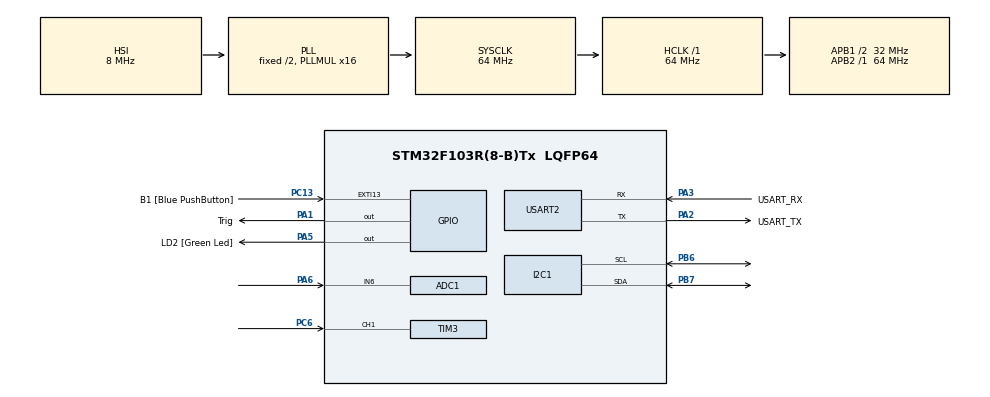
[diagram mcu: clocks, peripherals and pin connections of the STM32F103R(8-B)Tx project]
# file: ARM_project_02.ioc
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ADC1.Channel-3\#ChannelRegularConversion=ADC_CHANNEL_6
ADC1.ContinuousConvMode=DISABLE
ADC1.NbrOfConversionFlag=1
ADC1.Rank-3\#ChannelRegularConversion=1
ADC1.SamplingTime-3\#ChannelRegularConversion=ADC_SAMPLETIME_239CYCLES_5
ADC1.master=1
Dma.ADC1.0.Direction=DMA_PERIPH_TO_MEMORY
Dma.ADC1.0.Instance=DMA1_Channel1
Dma.ADC1.0.MemDataAlignment=DMA_MDATAALIGN_HALFWORD
Dma.ADC1.0.MemInc=DMA_MINC_ENABLE
Dma.ADC1.0.Mode=DMA_CIRCULAR
Dma.ADC1.0.PeriphDataAlignment=DMA_PDATAALIGN_HALFWORD
Dma.ADC1.0.PeriphInc=DMA_PINC_DISABLE
Dma.ADC1.0.Priority=DMA_PRIORITY_LOW
Dma.Request0=ADC1
Mcu.Family=STM32F1
Mcu.Name=STM32F103R(8-B)Tx
Mcu.Package=LQFP64
NVIC.ADC1_2_IRQn=true\:0\:0\:false\:false\:true\:true\:true\:true
NVIC.DMA1_Channel1_IRQn=true\:0\:0\:false\:false\:true\:false\:true\:true
NVIC.EXTI15_10_IRQn=true\:0\:0\:false\:false\:true\:true\:true\:true
NVIC.PriorityGroup=NVIC_PRIORITYGROUP_4
NVIC.TIM3_IRQn=true\:0\:0\:false\:false\:true\:true\:true\:true
PA1.GPIO_Label=Trig
PA1.Signal=GPIO_Output
PA13.GPIO_Label=TMS
PA13.Mode=Serial_Wire
PA13.Signal=SYS_JTMS-SWDIO
PA14.GPIO_Label=TCK
PA14.Mode=Serial_Wire
PA14.Signal=SYS_JTCK-SWCLK
PA2.GPIO_Label=USART_TX
PA2.GPIO_Mode=GPIO_MODE_AF_PP
PA2.GPIO_PuPd=GPIO_NOPULL
PA2.GPIO_Speed=GPIO_SPEED_FREQ_LOW
PA2.Mode=Asynchronous
PA2.Signal=USART2_TX
PA3.GPIO_Label=USART_RX
PA3.GPIO_Mode=GPIO_MODE_AF_PP
PA3.GPIO_PuPd=GPIO_NOPULL
PA3.GPIO_Speed=GPIO_SPEED_FREQ_LOW
PA3.Mode=Asynchronous
PA3.Signal=USART2_RX
PA5.GPIO_Label=LD2 [Green Led]
PA5.GPIO_ModeDefaultOutputPP=GPIO_MODE_OUTPUT_PP
PA5.GPIO_PuPd=GPIO_NOPULL
PA5.GPIO_Speed=GPIO_SPEED_FREQ_LOW
PA5.Signal=GPIO_Output
PA6.Signal=ADCx_IN6
PB3.GPIO_Label=SWO
PB3.Signal=SYS_JTDO-TRACESWO
PB6.Mode=I2C
PB6.Signal=I2C1_SCL
PB7.Mode=I2C
PB7.Signal=I2C1_SDA
PC13-TAMPER-RTC.GPIO_Label=B1 [Blue PushButton]
PC13-TAMPER-RTC.GPIO_PuPd=GPIO_NOPULL
PC13-TAMPER-RTC.Signal=GPXTI13
PC14-OSC32_IN.Mode=LSE-External-Oscillator
PC14-OSC32_IN.Signal=RCC_OSC32_IN
PC15-OSC32_OUT.Mode=LSE-External-Oscillator
PC15-OSC32_OUT.Signal=RCC_OSC32_OUT
PC6.Signal=S_TIM3_CH1
PD0-OSC_IN.Mode=HSE-External-Clock-Source
PD0-OSC_IN.Signal=RCC_OSC_IN
PD1-OSC_OUT.Mode=HSE-External-Clock-Source
PD1-OSC_OUT.Signal=RCC_OSC_OUT
ProjectManager.HeapSize=0x200
ProjectManager.StackSize=0x400
ProjectManager.TargetToolchain=STM32CubeIDE
RCC.ADCPresc=RCC_ADCPCLK2_DIV8
RCC.AHBFreq_Value=64000000
RCC.APB1CLKDivider=RCC_HCLK_DIV2
RCC.APB1Freq_Value=32000000
RCC.APB1TimFreq_Value=64000000
RCC.APB2Freq_Value=64000000
RCC.APB2TimFreq_Value=64000000
RCC.HCLKFreq_Value=64000000
RCC.PLLMUL=RCC_PLL_MUL16
RCC.RTCClockSelection=RCC_RTCCLKSOURCE_LSE
RCC.SYSCLKFreq_VALUE=64000000
RCC.SYSCLKSource=RCC_SYSCLKSOURCE_PLLCLK
RCC.USBFreq_Value=64000000
SH.ADCx_IN6.0=ADC1_IN6,IN6
SH.S_TIM3_CH1.0=TIM3_CH1,Input_Capture1_from_TI1
TIM3.Channel-Input_Capture1_from_TI1=TIM_CHANNEL_1
TIM3.Prescaler=64-1
TIM4.Period=65535
TIM4.Prescaler=64-1
USART2.VirtualMode=VM_ASYNC
VP_TIM3_VS_ClockSourceINT.Mode=Internal
VP_TIM4_VS_ClockSourceINT.Mode=Internal
board=NUCLEO-F103RB

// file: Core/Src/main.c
/* USER CODE BEGIN Header */
/**
 ******************************************************************************
 * @file           : main.c
 * @brief          : Main program body
 ******************************************************************************
 * @attention
 *
 * Copyright (c) 2022 STMicroelectronics.
 * All rights reserved.
 *
 * This software is licensed under terms that can be found in the LICENSE file
 * in the root directory of this software component.
 * If no LICENSE file comes with this software, it is provided AS-IS.
 *
 ******************************************************************************
 */
/* USER CODE END Header */
#include "main.h"

/* USER CODE BEGIN Includes */
#include <stdio.h>
#include "math.h"
/* USER CODE END Includes */

ADC_HandleTypeDef hadc1;
DMA_HandleTypeDef hdma_adc1;

I2C_HandleTypeDef hi2c1;

TIM_HandleTypeDef htim3;
TIM_HandleTypeDef htim4;

UART_HandleTypeDef huart2;

/* USER CODE BEGIN PV */
uint32_t IC1, IC2, ic;
uint32_t adc_temperature = 0;

uint16_t SUM, RH, TEMP;

uint8_t Rh_byte1, Rh_byte2, Temp_byte1, Temp_byte2;
uint8_t Presence = 0;

int captureFlag = 0;

char displayDis[50];

float dis;
float Temperature = 0;
float Humidity = 0;

/* USER CODE END PV */

void SystemClock_Config(void);
static void MX_GPIO_Init(void);
static void MX_USART2_UART_Init(void);
static void MX_TIM3_Init(void);
static void MX_DMA_Init(void);
static void MX_I2C1_Init(void);
static void MX_ADC1_Init(void);
static void MX_TIM4_Init(void);
/* USER CODE BEGIN PFP */
#ifdef __GNUC__
/* With GCC, small printf (option LD Linker->Libraries->Small printf
 set to 'Yes') calls __io_putchar() */
#define PUTCHAR_PROTOTYPE int __io_putchar(int ch)
#else
#define PUTCHAR_PROTOTYPE int fputc(int ch, FILE *f)
#endif /* __GNUC__ */
PUTCHAR_PROTOTYPE {
	/* Place your implementation of fputc here */
	/* e.g. write a character to the USART1 and Loop until the end of transmission */
	HAL_UART_Transmit(&huart2, (uint8_t*) &ch, 1, 0xFFFF);

	return ch;
}

/* USER CODE END PFP */

/* USER CODE BEGIN 0 */
void delay(uint16_t time) {
	/* change your code here for the delay in microseconds */
	__HAL_TIM_SET_COUNTER(&htim4, 0);
	//TIM4->CNT = 0;
	while ((__HAL_TIM_GET_COUNTER(&htim4)) < time)
		;
}
void Set_Pin_Output (GPIO_TypeDef *GPIOx, uint16_t GPIO_Pin)
{
	GPIO_InitTypeDef GPIO_InitStruct = {0};
	GPIO_InitStruct.Pin = GPIO_Pin;
	GPIO_InitStruct.Mode = GPIO_MODE_OUTPUT_PP;
	GPIO_InitStruct.Speed = GPIO_SPEED_FREQ_LOW;
	HAL_GPIO_Init(GPIOx, &GPIO_InitStruct);
}

void Set_Pin_Input (GPIO_TypeDef *GPIOx, uint16_t GPIO_Pin)
{
	GPIO_InitTypeDef GPIO_InitStruct = {0};
	GPIO_InitStruct.Pin = GPIO_Pin;
	GPIO_InitStruct.Mode = GPIO_MODE_INPUT;
	GPIO_InitStruct.Pull = GPIO_PULLUP;
	HAL_GPIO_Init(GPIOx, &GPIO_InitStruct);
}

#define DS18B20_PORT GPIOA
#define DS18B20_PIN GPIO_PIN_6

uint8_t DS18B20_Start(void) {
	uint8_t Response = 0;
	Set_Pin_Output(DS18B20_PORT, DS18B20_PIN);   // set the pin as output
	HAL_GPIO_WritePin(DS18B20_PORT, DS18B20_PIN, 0);  // pull the pin low
	delay(480);   // delay according to datasheet

	Set_Pin_Input(DS18B20_PORT, DS18B20_PIN);    // set the pin as input
	delay(80);    // delay according to datasheet

	if (!(HAL_GPIO_ReadPin(DS18B20_PORT, DS18B20_PIN)))
		Response = 1;    // if the pin is low i.e the presence pulse is detected
	else
		Response = -1;

	delay(400); // 480 us delay totally.

	return Response;
}

void DS18B20_Write(uint8_t data) {
	Set_Pin_Output(DS18B20_PORT, DS18B20_PIN);  // set as output

	for (int i = 0; i < 8; i++) {

		if ((data & (1 << i)) != 0)  // if the bit is high
				{
			// write 1

			Set_Pin_Output(DS18B20_PORT, DS18B20_PIN);  // set as output
			HAL_GPIO_WritePin(DS18B20_PORT, DS18B20_PIN, 0); // pull the pin LOW
			delay(1);  // wait for 1 us

			Set_Pin_Input(DS18B20_PORT, DS18B20_PIN);  // set as input
			delay(50);  // wait for 60 us
		}

		else  // if the bit is low
		{
			// write 0

			Set_Pin_Output(DS18B20_PORT, DS18B20_PIN);
			HAL_GPIO_WritePin(DS18B20_PORT, DS18B20_PIN, 0); // pull the pin LOW
			delay(50);  // wait for 60 us

			Set_Pin_Input(DS18B20_PORT, DS18B20_PIN);
		}
	}
}

uint8_t DS18B20_Read(void) {
	uint8_t value = 0;

	Set_Pin_Input(DS18B20_PORT, DS18B20_PIN);

	for (int i = 0; i < 8; i++) {
		Set_Pin_Output(DS18B20_PORT, DS18B20_PIN);   // set as output

		HAL_GPIO_WritePin(DS18B20_PORT, DS18B20_PIN, 0); // pull the data pin LOW
		delay(1);  // wait for > 1us

		Set_Pin_Input(DS18B20_PORT, DS18B20_PIN);  // set as input
		if (HAL_GPIO_ReadPin(DS18B20_PORT, DS18B20_PIN))  // if the pin is HIGH
				{
			value |= 1 << i;  // read = 1
		}
		delay(50);  // wait for 60 us
	}
	return value;
}
/* USER CODE END 0 */

int main(void) {

	/* MCU Configuration--------------------------------------------------------*/

	/* Reset of all peripherals, Initializes the Flash interface and the Systick. */
	HAL_Init();

	/* Configure the system clock */
	SystemClock_Config();

	/* Initialize all configured peripherals */
	MX_GPIO_Init();
	MX_USART2_UART_Init();
	MX_TIM3_Init();
	MX_DMA_Init();
	MX_I2C1_Init();
	MX_ADC1_Init();
	MX_TIM4_Init();
	/* USER CODE BEGIN 2 */
	//lcd_init();
	HAL_TIM_Base_Start(&htim4);
	/* USER CODE END 2 */

	/* Infinite loop */
	/* USER CODE BEGIN WHILE */

	while (1) {
		Presence = DS18B20_Start();
		HAL_Delay(1);
		DS18B20_Write(0xCC);  // skip ROM
		DS18B20_Write(0x44);  // convert t
		HAL_Delay(800);

		Presence = DS18B20_Start();
		HAL_Delay(1);
		DS18B20_Write(0xCC);  // skip ROM
		DS18B20_Write(0xBE);  // Read Scratch-pad

		Temp_byte1 = DS18B20_Read();
		Temp_byte2 = DS18B20_Read();
		TEMP = (Temp_byte2 << 8) | Temp_byte1;
		Temperature = (float) TEMP / 16;

		HAL_Delay(500);
		//printf("temperature : %.2f°C\n\r", T2-273.15);
		printf("ADC temperature : %.2f\n\r", Temperature);
		//printf("distance : %.2fcm\n\r", dis);
		/* USER CODE END WHILE */

	}
}

void SystemClock_Config(void) {
	RCC_OscInitTypeDef RCC_OscInitStruct = { 0 };
	RCC_ClkInitTypeDef RCC_ClkInitStruct = { 0 };
	RCC_PeriphCLKInitTypeDef PeriphClkInit = { 0 };

	/** Initializes the RCC Oscillators according to the specified parameters
	 * in the RCC_OscInitTypeDef structure.
	 */
	RCC_OscInitStruct.OscillatorType = RCC_OSCILLATORTYPE_HSI;
	RCC_OscInitStruct.HSIState = RCC_HSI_ON;
	RCC_OscInitStruct.HSICalibrationValue = RCC_HSICALIBRATION_DEFAULT;
	RCC_OscInitStruct.PLL.PLLState = RCC_PLL_ON;
	RCC_OscInitStruct.PLL.PLLSource = RCC_PLLSOURCE_HSI_DIV2;
	RCC_OscInitStruct.PLL.PLLMUL = RCC_PLL_MUL16;
	if (HAL_RCC_OscConfig(&RCC_OscInitStruct) != HAL_OK) {
		Error_Handler();
	}

	/** Initializes the CPU, AHB and APB buses clocks
	 */
	RCC_ClkInitStruct.ClockType = RCC_CLOCKTYPE_HCLK | RCC_CLOCKTYPE_SYSCLK
			| RCC_CLOCKTYPE_PCLK1 | RCC_CLOCKTYPE_PCLK2;
	RCC_ClkInitStruct.SYSCLKSource = RCC_SYSCLKSOURCE_PLLCLK;
	RCC_ClkInitStruct.AHBCLKDivider = RCC_SYSCLK_DIV1;
	RCC_ClkInitStruct.APB1CLKDivider = RCC_HCLK_DIV2;
	RCC_ClkInitStruct.APB2CLKDivider = RCC_HCLK_DIV1;

	if (HAL_RCC_ClockConfig(&RCC_ClkInitStruct, FLASH_LATENCY_2) != HAL_OK) {
		Error_Handler();
	}
	PeriphClkInit.PeriphClockSelection = RCC_PERIPHCLK_ADC;
	PeriphClkInit.AdcClockSelection = RCC_ADCPCLK2_DIV8;
	if (HAL_RCCEx_PeriphCLKConfig(&PeriphClkInit) != HAL_OK) {
		Error_Handler();
	}
}

static void MX_ADC1_Init(void) {

	ADC_ChannelConfTypeDef sConfig = { 0 };

	/** Common config
	 */
	hadc1.Instance = ADC1;
	hadc1.Init.ScanConvMode = ADC_SCAN_DISABLE;
	hadc1.Init.ContinuousConvMode = DISABLE;
	hadc1.Init.DiscontinuousConvMode = DISABLE;
	hadc1.Init.ExternalTrigConv = ADC_SOFTWARE_START;
	hadc1.Init.DataAlign = ADC_DATAALIGN_RIGHT;
	hadc1.Init.NbrOfConversion = 1;
	if (HAL_ADC_Init(&hadc1) != HAL_OK) {
		Error_Handler();
	}

	/** Configure Regular Channel
	 */
	sConfig.Channel = ADC_CHANNEL_6;
	sConfig.Rank = ADC_REGULAR_RANK_1;
	sConfig.SamplingTime = ADC_SAMPLETIME_239CYCLES_5;
	if (HAL_ADC_ConfigChannel(&hadc1, &sConfig) != HAL_OK) {
		Error_Handler();
	}

}

static void MX_I2C1_Init(void) {

	hi2c1.Instance = I2C1;
	hi2c1.Init.ClockSpeed = 100000;
	hi2c1.Init.DutyCycle = I2C_DUTYCYCLE_2;
	hi2c1.Init.OwnAddress1 = 0;
	hi2c1.Init.AddressingMode = I2C_ADDRESSINGMODE_7BIT;
	hi2c1.Init.DualAddressMode = I2C_DUALADDRESS_DISABLE;
	hi2c1.Init.OwnAddress2 = 0;
	hi2c1.Init.GeneralCallMode = I2C_GENERALCALL_DISABLE;
	hi2c1.Init.NoStretchMode = I2C_NOSTRETCH_DISABLE;
	if (HAL_I2C_Init(&hi2c1) != HAL_OK) {
		Error_Handler();
	}

}

static void MX_TIM3_Init(void) {

	TIM_ClockConfigTypeDef sClockSourceConfig = { 0 };
	TIM_MasterConfigTypeDef sMasterConfig = { 0 };
	TIM_IC_InitTypeDef sConfigIC = { 0 };

	htim3.Instance = TIM3;
	htim3.Init.Prescaler = 64 - 1;
	htim3.Init.CounterMode = TIM_COUNTERMODE_UP;
	htim3.Init.Period = 65535;
	htim3.Init.ClockDivision = TIM_CLOCKDIVISION_DIV1;
	htim3.Init.AutoReloadPreload = TIM_AUTORELOAD_PRELOAD_DISABLE;
	if (HAL_TIM_Base_Init(&htim3) != HAL_OK) {
		Error_Handler();
	}
	sClockSourceConfig.ClockSource = TIM_CLOCKSOURCE_INTERNAL;
	if (HAL_TIM_ConfigClockSource(&htim3, &sClockSourceConfig) != HAL_OK) {
		Error_Handler();
	}
	if (HAL_TIM_IC_Init(&htim3) != HAL_OK) {
		Error_Handler();
	}
	sMasterConfig.MasterOutputTrigger = TIM_TRGO_RESET;
	sMasterConfig.MasterSlaveMode = TIM_MASTERSLAVEMODE_DISABLE;
	if (HAL_TIMEx_MasterConfigSynchronization(&htim3, &sMasterConfig)
			!= HAL_OK) {
		Error_Handler();
	}
	sConfigIC.ICPolarity = TIM_INPUTCHANNELPOLARITY_RISING;
	sConfigIC.ICSelection = TIM_ICSELECTION_DIRECTTI;
	sConfigIC.ICPrescaler = TIM_ICPSC_DIV1;
	sConfigIC.ICFilter = 0;
	if (HAL_TIM_IC_ConfigChannel(&htim3, &sConfigIC, TIM_CHANNEL_1) != HAL_OK) {
		Error_Handler();
	}

}

static void MX_TIM4_Init(void) {

	TIM_ClockConfigTypeDef sClockSourceConfig = { 0 };
	TIM_MasterConfigTypeDef sMasterConfig = { 0 };

	htim4.Instance = TIM4;
	htim4.Init.Prescaler = 64 - 1;
	htim4.Init.CounterMode = TIM_COUNTERMODE_UP;
	htim4.Init.Period = 65535;
	htim4.Init.ClockDivision = TIM_CLOCKDIVISION_DIV1;
	htim4.Init.AutoReloadPreload = TIM_AUTORELOAD_PRELOAD_DISABLE;
	if (HAL_TIM_Base_Init(&htim4) != HAL_OK) {
		Error_Handler();
	}
	sClockSourceConfig.ClockSource = TIM_CLOCKSOURCE_INTERNAL;
	if (HAL_TIM_ConfigClockSource(&htim4, &sClockSourceConfig) != HAL_OK) {
		Error_Handler();
	}
	sMasterConfig.MasterOutputTrigger = TIM_TRGO_RESET;
	sMasterConfig.MasterSlaveMode = TIM_MASTERSLAVEMODE_DISABLE;
	if (HAL_TIMEx_MasterConfigSynchronization(&htim4, &sMasterConfig)
			!= HAL_OK) {
		Error_Handler();
	}

}

static void MX_USART2_UART_Init(void) {

	huart2.Instance = USART2;
	huart2.Init.BaudRate = 115200;
	huart2.Init.WordLength = UART_WORDLENGTH_8B;
	huart2.Init.StopBits = UART_STOPBITS_1;
	huart2.Init.Parity = UART_PARITY_NONE;
	huart2.Init.Mode = UART_MODE_TX_RX;
	huart2.Init.HwFlowCtl = UART_HWCONTROL_NONE;
	huart2.Init.OverSampling = UART_OVERSAMPLING_16;
	if (HAL_UART_Init(&huart2) != HAL_OK) {
		Error_Handler();
	}

}

static void MX_DMA_Init(void) {

	/* DMA controller clock enable */
	__HAL_RCC_DMA1_CLK_ENABLE();

	/* DMA interrupt init */
	/* DMA1_Channel1_IRQn interrupt configuration */
	HAL_NVIC_SetPriority(DMA1_Channel1_IRQn, 0, 0);
	HAL_NVIC_EnableIRQ(DMA1_Channel1_IRQn);

}

static void MX_GPIO_Init(void) {
	GPIO_InitTypeDef GPIO_InitStruct = { 0 };

	/* GPIO Ports Clock Enable */
	__HAL_RCC_GPIOC_CLK_ENABLE();
	__HAL_RCC_GPIOD_CLK_ENABLE();
	__HAL_RCC_GPIOA_CLK_ENABLE();
	__HAL_RCC_GPIOB_CLK_ENABLE();

	/*Configure GPIO pin Output Level */
	HAL_GPIO_WritePin(GPIOA, Trig_Pin | LD2_Pin, GPIO_PIN_RESET);

	/*Configure GPIO pin : B1_Pin */
	GPIO_InitStruct.Pin = B1_Pin;
	GPIO_InitStruct.Mode = GPIO_MODE_IT_RISING;
	GPIO_InitStruct.Pull = GPIO_NOPULL;
	HAL_GPIO_Init(B1_GPIO_Port, &GPIO_InitStruct);

	/*Configure GPIO pins : Trig_Pin LD2_Pin */
	GPIO_InitStruct.Pin = Trig_Pin | LD2_Pin;
	GPIO_InitStruct.Mode = GPIO_MODE_OUTPUT_PP;
	GPIO_InitStruct.Pull = GPIO_NOPULL;
	GPIO_InitStruct.Speed = GPIO_SPEED_FREQ_LOW;
	HAL_GPIO_Init(GPIOA, &GPIO_InitStruct);

	/* EXTI interrupt init*/
	HAL_NVIC_SetPriority(EXTI15_10_IRQn, 0, 0);
	HAL_NVIC_EnableIRQ(EXTI15_10_IRQn);

}

void Error_Handler(void) {
	__disable_irq();
	while (1) {
	}
}
